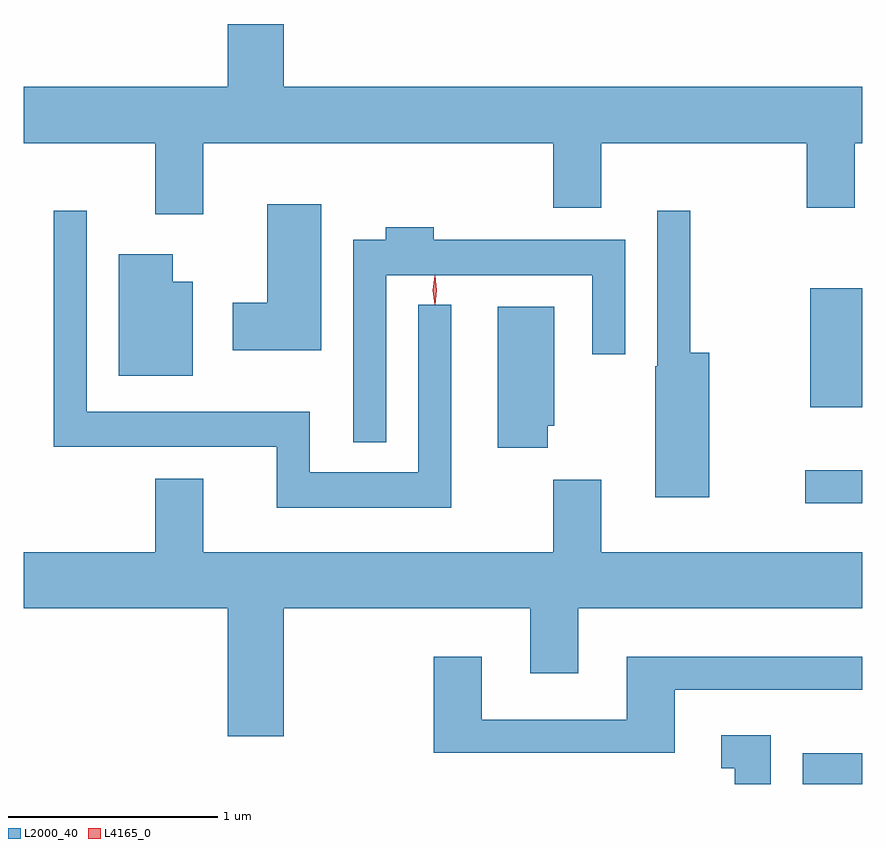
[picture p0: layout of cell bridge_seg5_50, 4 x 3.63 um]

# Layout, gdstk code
import gdstk
lib = gdstk.Library(unit=1e-6, precision=1e-09)
def R(c, l, rs):  # rectangles x0, y0, x1, y1
    for r in rs: c.add(gdstk.rectangle(r[:2], r[2:], *l))
def P(c, l, *ps):  # polygons
    for p in ps: c.add(gdstk.Polygon(p, *l))
L2000_40 = (2000, 40)
L4165_0 = (4165, 0)

bridge_seg5_50 = lib.new_cell('bridge_seg5_50')
R(bridge_seg5_50, L2000_40, [(1336.701,1473.717,1336.984,1473.864), (1336.713,1475.056,1336.984,1475.214), (1336.736,1475.516,1336.984,1476.084)])
P(bridge_seg5_50, L2000_40, [(1332.984,1476.776),(1333.611,1476.776),(1333.611,1476.436),(1333.839,1476.436),(1333.839,1476.776),(1335.511,1476.776),(1335.511,1476.466),(1335.739,1476.466),(1335.739,1476.776),(1336.721,1476.776),(1336.721,1476.466),(1336.949,1476.466),(1336.949,1476.776),(1336.984,1476.776),(1336.984,1477.044),(1334.224,1477.044),(1334.224,1477.344),(1333.956,1477.344),(1333.956,1477.044),(1332.984,1477.044)],
  [(1334.404,1476.484),(1334.146,1476.484),(1334.146,1476.014),(1333.981,1476.014),(1333.981,1475.786),(1334.404,1475.786)],
  [(1335.024,1476.003),(1334.866,1476.003),(1334.866,1475.204),(1334.349,1475.204),(1334.349,1475.494),(1333.284,1475.494),(1333.284,1476.453),(1333.126,1476.453),(1333.126,1475.326),(1334.191,1475.326),(1334.191,1475.036),(1335.024,1475.036)],
  [(1336.254,1475.774),(1336.164,1475.774),(1336.164,1476.453),(1336.006,1476.453),(1336.006,1475.71),(1335.996,1475.71),(1335.996,1475.086),(1336.254,1475.086)],
  [(1334.714,1476.146),(1335.696,1476.146),(1335.696,1475.768),(1335.854,1475.768),(1335.854,1476.314),(1334.939,1476.314),(1334.939,1476.374),(1334.711,1476.374),(1334.711,1476.314),(1334.556,1476.314),(1334.556,1475.348),(1334.714,1475.348)],
  [(1333.789,1476.114),(1333.694,1476.114),(1333.694,1476.244),(1333.436,1476.244),(1333.436,1475.666),(1333.789,1475.666)],
  [(1335.484,1475.426),(1335.514,1475.426),(1335.514,1475.994),(1335.246,1475.994),(1335.246,1475.321),(1335.484,1475.321)],
  [(1334.224,1474.556),(1335.401,1474.556),(1335.401,1474.246),(1335.629,1474.246),(1335.629,1474.556),(1336.984,1474.556),(1336.984,1474.824),(1335.739,1474.824),(1335.739,1475.169),(1335.511,1475.169),(1335.511,1474.824),(1333.839,1474.824),(1333.839,1475.174),(1333.611,1475.174),(1333.611,1474.824),(1332.984,1474.824),(1332.984,1474.556),(1333.956,1474.556),(1333.956,1473.946),(1334.224,1473.946)],
  [(1336.089,1474.166),(1336.984,1474.166),(1336.984,1474.324),(1335.861,1474.324),(1335.861,1474.024),(1335.169,1474.024),(1335.169,1474.324),(1334.941,1474.324),(1334.941,1473.866),(1336.089,1473.866)],
  [(1336.549,1473.949),(1336.313,1473.949),(1336.313,1473.791),(1336.376,1473.791),(1336.376,1473.717),(1336.549,1473.717)])
P(bridge_seg5_50, L4165_0, [(1334.944,1476.004),(1334.936,1476.073),(1334.945,1476.142),(1334.946,1476.143),(1334.946,1476.142),(1334.955,1476.073),(1334.946,1476.004),(1334.945,1476.004)],
  [(1334.944,1476.007),(1334.935,1476.074),(1334.944,1476.14),(1334.945,1476.141),(1334.946,1476.14),(1334.955,1476.074),(1334.946,1476.007),(1334.945,1476.007)])

lib.write_gds('bridge_seg5_50.gds')
